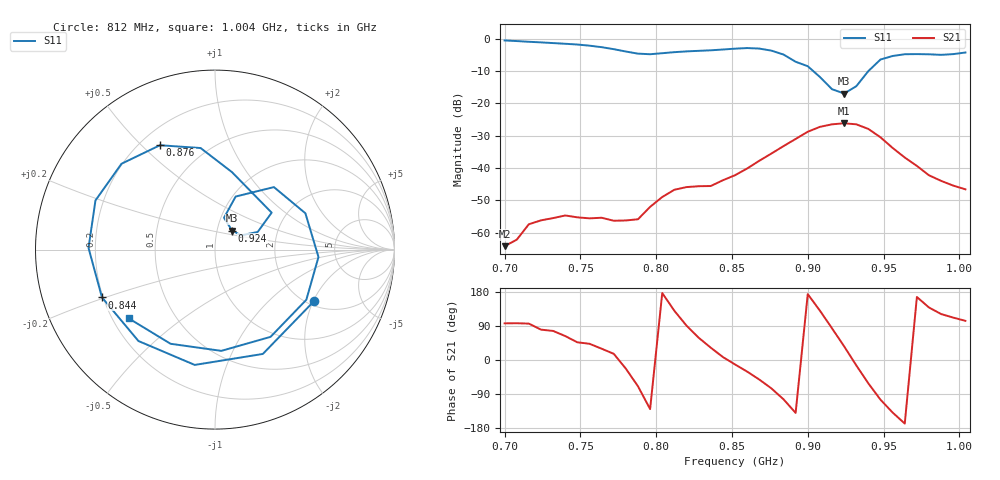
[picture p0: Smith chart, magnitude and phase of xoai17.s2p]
# Hz S RI R 50
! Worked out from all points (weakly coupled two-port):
!   39 points, 700 MHz to 1.004 GHz, reference 50 ohm
!   highest |S21| = -26.15 dB at 924 MHz (marker M1); lowest = -64.2 dB at 700 MHz (marker M2)
!   lowest |S11| = -16.9 dB at 924 MHz (marker M3), VSWR 1.33, Z = 59.1 + j12.7 ohm
!   |S11| at or under -10 dB: 903.7 MHz to 940 MHz (36.29 MHz wide, 3.94 % of centre)
!   S12 and S22 are empty: the file has one direction only
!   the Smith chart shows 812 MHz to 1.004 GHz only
!   S11 on the Smith chart (normalised r, x): 812 MHz: 2.16, -2.03; 844 MHz: 0.20, -0.20; 876 MHz: 0.28, +0.57; 924 MHz: 1.18, +0.25; 1.004 GHz: 0.27, -0.33
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7e8  0.7642 0.5548  -7.21e-05 0.000611  0 0  0 0
7.24e8  0.8472 -0.2442  0.000266 0.00152  0 0  0 0
7.4e8  0.4595 -0.7019  0.00083 0.00164  0 0  0 0
7.56e8  -0.1897 -0.761  0.00122 0.00113  0 0  0 0
7.72e8  -0.6629 -0.1993  0.00146 0.000429  0 0  0 0
7.8e8  -0.5951 0.2253  0.00142 -0.000598  0 0  0 0
7.88e8  -0.2485 0.535  0.000565 -0.0015  0 0  0 0
7.96e8  0.243 0.5246  -0.00159 -0.00193  0 0  0 0
8.04e8  0.5749 0.1699  -0.00355 0.000203  0 0  0 0
8.12e8  0.5518 -0.2873  -0.00295 0.00353  0 0  0 0
8.28e8  -0.1129 -0.6425  0.0027 0.00447  0 0  0 0
8.44e8  -0.6297 -0.2665  0.00639 0.000881  0 0  0 0
8.52e8  -0.7047 0.00929  0.00756 -0.00157  0 0  0 0
8.76e8  -0.3067 0.5814  0.00436 -0.0161  0 0  0 0
9e8  0.3156 0.2058  -0.0362 0.00388  0 0  0 0
9.08e8  0.2376 0.098  -0.028 0.033  0 0  0 0
9.24e8  0.0955 0.1056  0.0398 0.029  0 0  0 0
9.4e8  0.1151 0.2955  0.019 -0.0355  0 0  0 0
9.56e8  0.5037 0.2023  -0.0153 -0.0135  0 0  0 0
9.64e8  0.5766 -0.0415  -0.0142 -0.00306  0 0  0 0
9.8e8  0.3096 -0.4861  -0.00576 0.00511  0 0  0 0
1.004e9  -0.48 -0.3835  -0.00108 0.00454  0 0  0 0
